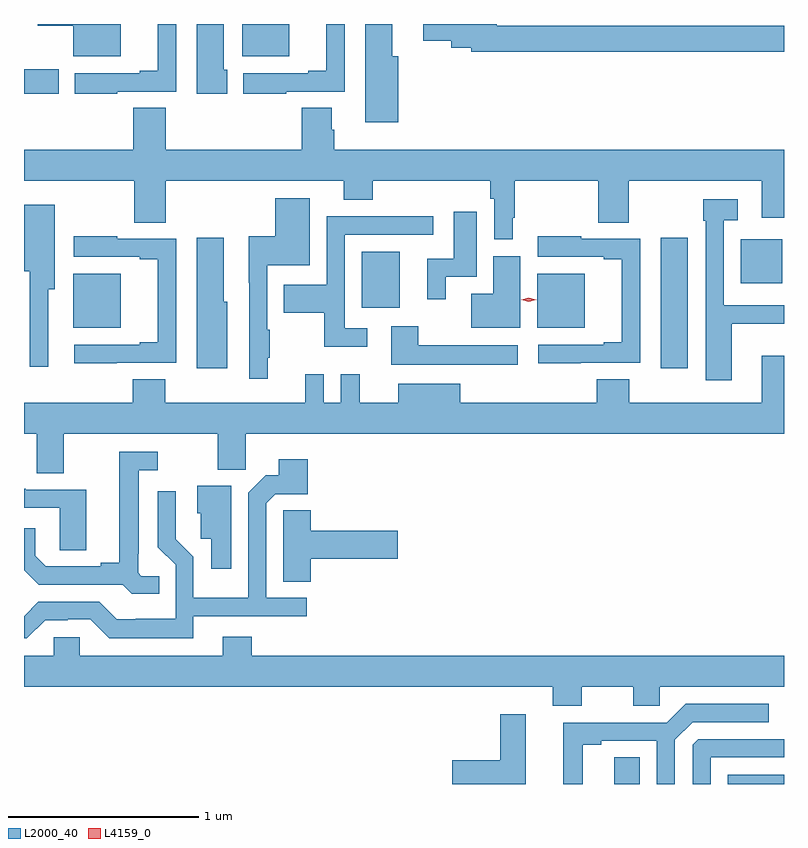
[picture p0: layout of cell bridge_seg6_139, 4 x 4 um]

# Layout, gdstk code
import gdstk
lib = gdstk.Library(unit=1e-6, precision=1e-09)
def R(c, l, rs):  # rectangles x0, y0, x1, y1
    for r in rs: c.add(gdstk.rectangle(r[:2], r[2:], *l))
def P(c, l, *ps):  # polygons
    for p in ps: c.add(gdstk.Polygon(p, *l))
L2000_40 = (2000, 40)
L4159_0 = (4159, 0)

bridge_seg6_139 = lib.new_cell('bridge_seg6_139')
R(bridge_seg6_139, L2000_40, [(617.978,993.445,618.112,993.587), (618.576,993.445,618.871,993.495), (618.221,995.634,618.364,996.319), (615.131,995.846,615.379,996.13), (617.573,995.846,617.821,996.13), (616.649,995.951,616.849,996.247), (618.644,996.08,618.862,996.313), (614.871,997.078,615.054,997.207), (616.019,997.274,616.267,997.445)])
P(bridge_seg6_139, L2000_40, [(615.379,997.445),(614.943,997.445),(614.943,997.436),(615.131,997.436),(615.131,997.274),(615.379,997.274)],
  [(616.25,997.089),(616.56,997.089),(616.56,997.445),(616.463,997.445),(616.463,997.198),(616.367,997.198),(616.367,997.185),(616.025,997.185),(616.025,997.077),(616.25,997.077)],
  [(618.871,997.436),(617.359,997.436),(617.359,997.445),(616.971,997.445),(616.971,997.358),(617.12,997.358),(617.12,997.319),(617.224,997.319),(617.224,997.3),(618.871,997.3)],
  [(615.362,997.089),(615.672,997.089),(615.672,997.445),(615.575,997.445),(615.575,997.198),(615.479,997.198),(615.479,997.185),(615.139,997.185),(615.139,997.077),(615.362,997.077)],
  [(616.841,997.275),(616.81,997.275),(616.81,997.445),(616.667,997.445),(616.667,996.927),(616.841,996.927)],
  [(615.94,997.203),(615.922,997.203),(615.922,997.445),(615.779,997.445),(615.779,997.077),(615.94,997.077)],
  [(617.443,996.424),(617.455,996.424),(617.455,996.62),(617.893,996.62),(617.893,996.4),(618.054,996.4),(618.054,996.62),(618.755,996.62),(618.755,996.426),(618.871,996.426),(618.871,996.784),(616.505,996.784),(616.505,996.888),(616.492,996.888),(616.492,997.004),(616.334,997.004),(616.334,996.784),(615.617,996.784),(615.617,997.004),(615.446,997.004),(615.446,996.784),(614.871,996.784),(614.871,996.62),(615.451,996.62),(615.451,996.4),(615.617,996.4),(615.617,996.62),(616.553,996.62),(616.553,996.521),(616.706,996.521),(616.706,996.62),(617.326,996.62),(617.326,996.524),(617.346,996.524),(617.346,996.312),(617.443,996.312)],
  [(616.154,995.689),(616.165,995.689),(616.165,995.837),(616.152,995.837),(616.152,996.176),(616.375,996.176),(616.375,996.529),(616.193,996.529),(616.193,996.327),(616.055,996.327),(616.055,996.082),(616.056,996.082),(616.056,995.577),(616.154,995.577)],
  [(618.595,995.867),(618.871,995.867),(618.871,995.964),(618.555,995.964),(618.555,996.413),(618.628,996.413),(618.628,996.523),(618.447,996.523),(618.447,996.41),(618.459,996.41),(618.459,995.861),(618.458,995.861),(618.458,995.571),(618.595,995.571)],
  [(614.998,996.05),(615.034,996.05),(615.034,996.493),(614.873,996.493),(614.873,996.144),(614.901,996.144),(614.901,995.64),(614.998,995.64)],
  [(617.092,996.114),(617.254,996.114),(617.254,996.457),(617.132,996.457),(617.132,996.21),(616.994,996.21),(616.994,995.997),(617.092,995.997)],
  [(616.678,995.844),(616.56,995.844),(616.56,996.336),(617.026,996.336),(617.026,996.434),(616.789,996.434),(616.789,996.432),(616.464,996.432),(616.464,996.073),(616.237,996.073),(616.237,995.926),(616.452,995.926),(616.452,995.747),(616.678,995.747)],
  [(617.801,995.661),(618.114,995.661),(618.114,996.315),(617.804,996.315),(617.804,996.328),(617.574,996.328),(617.574,996.219),(617.921,996.219),(617.921,996.207),(618.017,996.207),(618.017,995.77),(617.921,995.77),(617.921,995.757),(617.577,995.757),(617.577,995.66),(617.801,995.66)],
  [(615.359,995.661),(615.672,995.661),(615.672,996.315),(615.362,996.315),(615.362,996.328),(615.132,996.328),(615.132,996.219),(615.479,996.219),(615.479,996.207),(615.575,996.207),(615.575,995.77),(615.479,995.77),(615.479,995.757),(615.135,995.757),(615.135,995.66),(615.359,995.66)],
  [(615.94,995.982),(615.922,995.982),(615.922,996.319),(615.779,996.319),(615.779,995.634),(615.94,995.634)],
  [(617.482,996.223),(617.342,996.223),(617.342,996.025),(617.225,996.025),(617.225,995.846),(617.482,995.846)],
  [(617.47,995.755),(616.945,995.755),(616.945,995.854),(616.805,995.854),(616.805,995.651),(617.47,995.651)],
  [(615.079,995.288),(615.892,995.288),(615.892,995.099),(616.038,995.099),(616.038,995.288),(618.871,995.288),(618.871,995.698),(618.755,995.698),(618.755,995.452),(618.057,995.452),(618.057,995.576),(617.885,995.576),(617.885,995.452),(617.167,995.452),(617.167,995.551),(616.841,995.551),(616.841,995.452),(616.637,995.452),(616.637,995.602),(616.539,995.602),(616.539,995.452),(616.449,995.452),(616.449,995.602),(616.352,995.602),(616.352,995.452),(615.615,995.452),(615.615,995.576),(615.443,995.576),(615.443,995.452),(614.871,995.452),(614.871,995.288),(614.939,995.288),(614.939,995.08),(615.079,995.08)],
  [(615.584,994.539),(615.489,994.539),(615.471,994.557),(615.471,994.657),(615.475,994.657),(615.475,995.097),(615.574,995.097),(615.574,995.193),(615.371,995.193),(615.371,994.61),(615.275,994.61),(615.275,994.59),(614.986,994.59),(614.929,994.647),(614.929,994.792),(614.871,994.792),(614.871,994.571),(614.948,994.494),(615.39,994.494),(615.438,994.447),(615.584,994.447)],
  [(615.763,994.329),(616.36,994.329),(616.36,994.425),(616.146,994.425),(616.146,994.923),(616.194,994.971),(616.364,994.971),(616.364,995.155),(616.211,995.155),(616.211,995.07),(616.143,995.07),(616.05,994.977),(616.05,994.426),(615.762,994.426),(615.762,994.642),(615.67,994.734),(615.67,994.987),(615.576,994.987),(615.576,994.692),(615.669,994.599),(615.669,994.315),(615.46,994.315),(615.46,994.311),(615.36,994.311),(615.267,994.404),(614.946,994.404),(614.871,994.329),(614.871,994.212),(614.886,994.212),(614.982,994.308),(615.102,994.308),(615.102,994.311),(615.219,994.311),(615.319,994.211),(615.763,994.211)],
  [(615.961,995.014),(615.782,995.014),(615.782,994.869),(615.801,994.869),(615.801,994.737),(615.857,994.737),(615.857,994.578),(615.961,994.578)],
  [(615.199,994.995),(614.881,994.995),(614.881,994.999),(614.871,994.999),(614.871,994.899),(615.06,994.899),(615.06,994.675),(615.199,994.675)],
  [(616.379,994.631),(616.837,994.631),(616.837,994.778),(616.379,994.778),(616.379,994.886),(616.236,994.886),(616.236,994.778),(616.235,994.778),(616.235,994.51),(616.379,994.51)],
  [(617.806,993.956),(618.077,993.956),(618.077,993.858),(618.216,993.858),(618.216,993.956),(618.871,993.956),(618.871,994.12),(616.07,994.12),(616.07,994.219),(615.917,994.219),(615.917,994.12),(615.165,994.12),(615.165,994.218),(615.027,994.218),(615.027,994.12),(614.871,994.12),(614.871,993.956),(617.654,993.956),(617.654,993.857),(617.806,993.857)],
  [(617.812,993.652),(617.908,993.652),(617.908,993.672),(618.201,993.672),(618.201,993.445),(618.297,993.445),(618.297,993.678),(618.39,993.771),(618.79,993.771),(618.79,993.867),(618.353,993.867),(618.254,993.768),(617.708,993.768),(617.708,993.445),(617.812,993.445)],
  [(617.512,993.811),(617.378,993.811),(617.378,993.57),(617.124,993.57),(617.124,993.445),(617.512,993.445)],
  [(618.486,993.585),(618.871,993.585),(618.871,993.681),(618.42,993.681),(618.39,993.651),(618.39,993.445),(618.486,993.445)])
P(bridge_seg6_139, L4159_0, [(617.527,995.984),(617.488,995.994),(617.488,995.994),(617.488,995.994),(617.527,996.004),(617.567,995.994),(617.567,995.994),(617.567,995.994)])

lib.write_gds('bridge_seg6_139.gds')
